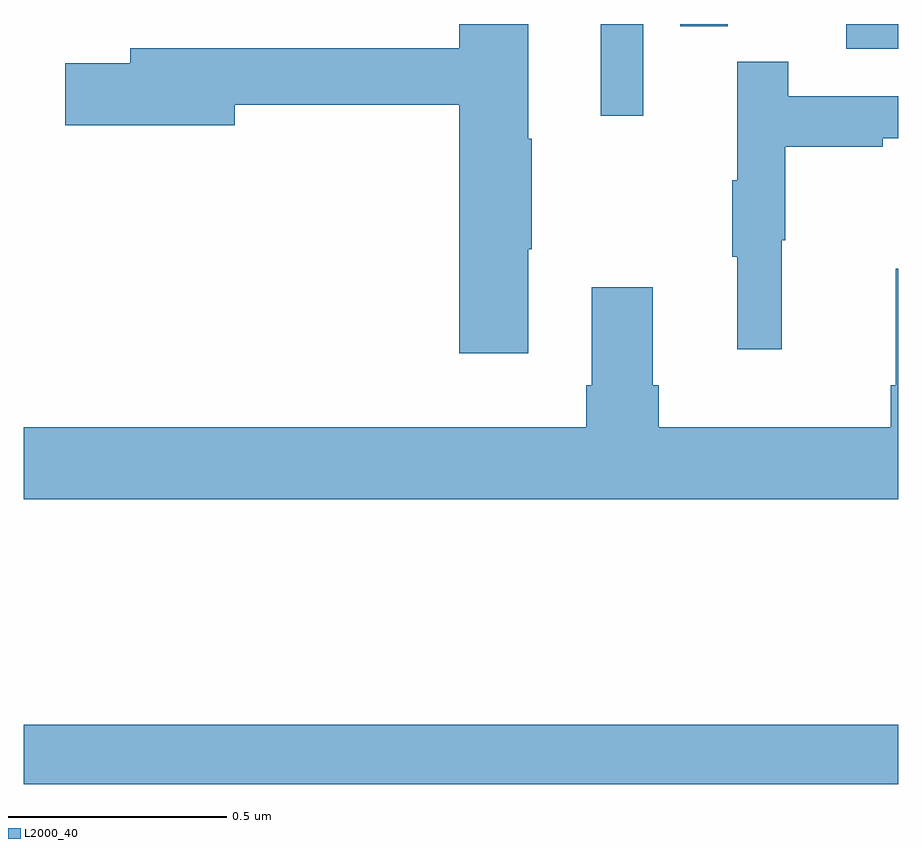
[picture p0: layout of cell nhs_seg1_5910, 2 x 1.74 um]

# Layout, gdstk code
import gdstk
lib = gdstk.Library(unit=1e-6, precision=1e-09)
def R(c, l, rs):  # rectangles x0, y0, x1, y1
    for r in rs: c.add(gdstk.rectangle(r[:2], r[2:], *l))
def P(c, l, *ps):  # polygons
    for p in ps: c.add(gdstk.Polygon(p, *l))
L2000_40 = (2000, 40)

nhs_seg1_5910 = lib.new_cell('nhs_seg1_5910')
R(nhs_seg1_5910, L2000_40, [(185,504.46,187,504.596), (186.32,505.989,186.417,506.199), (186.882,506.142,187,506.199), (186.502,506.194,186.61,506.199)])
P(nhs_seg1_5910, L2000_40, [(186.154,505.684),(186.162,505.684),(186.162,505.937),(186.154,505.937),(186.154,506.199),(185.996,506.199),(185.996,506.143),(185.243,506.143),(185.243,506.109),(185.094,506.109),(185.094,505.967),(185.482,505.967),(185.482,506.014),(185.996,506.014),(185.996,505.446),(186.154,505.446)],
  [(186.734,505.704),(186.742,505.704),(186.742,505.918),(186.965,505.918),(186.965,505.938),(187,505.938),(187,506.034),(186.749,506.034),(186.749,506.113),(186.632,506.113),(186.632,505.841),(186.621,505.841),(186.621,505.667),(186.632,505.667),(186.632,505.455),(186.734,505.455)],
  [(187,505.639),(186.995,505.639),(186.995,505.372),(186.983,505.372),(186.983,505.276),(186.452,505.276),(186.452,505.372),(186.439,505.372),(186.439,505.597),(186.299,505.597),(186.299,505.372),(186.287,505.372),(186.287,505.276),(185,505.276),(185,505.112),(187,505.112)])

lib.write_gds('nhs_seg1_5910.gds')
